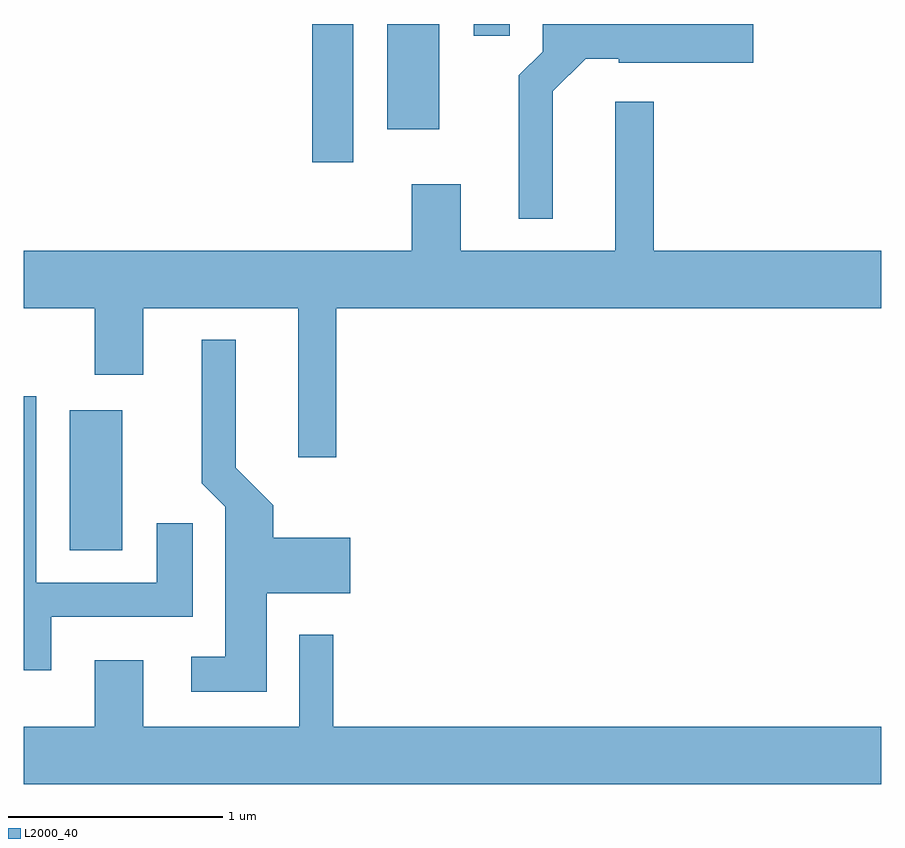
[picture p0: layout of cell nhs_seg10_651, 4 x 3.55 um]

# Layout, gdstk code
import gdstk
lib = gdstk.Library(unit=1e-6, precision=1e-09)
def R(c, l, rs):  # rectangles x0, y0, x1, y1
    for r in rs: c.add(gdstk.rectangle(r[:2], r[2:], *l))
def P(c, l, *ps):  # polygons
    for p in ps: c.add(gdstk.Polygon(p, *l))
L2000_40 = (2000, 40)

nhs_seg10_651 = lib.new_cell('nhs_seg10_651')
R(nhs_seg10_651, L2000_40, [(203.826,2166.066,204.069,2166.719), (204.956,2167.876,205.149,2168.522), (205.306,2168.031,205.549,2168.522), (205.711,2168.468,205.879,2168.522)])
P(nhs_seg10_651, L2000_40, [(206.079,2168.209),(206.232,2168.361),(206.386,2168.361),(206.386,2168.341),(207.014,2168.341),(207.014,2168.522),(206.031,2168.522),(206.031,2168.392),(205.921,2168.282),(205.921,2167.613),(206.079,2167.613)],
  [(205.069,2167.196),(207.611,2167.196),(207.611,2167.464),(206.549,2167.464),(206.549,2168.159),(206.371,2168.159),(206.371,2167.464),(205.649,2167.464),(205.649,2167.774),(205.421,2167.774),(205.421,2167.464),(203.611,2167.464),(203.611,2167.196),(203.941,2167.196),(203.941,2166.886),(204.169,2166.886),(204.169,2167.196),(204.891,2167.196),(204.891,2166.501),(205.069,2166.501)],
  [(204.744,2165.866),(205.134,2165.866),(205.134,2166.124),(204.774,2166.124),(204.774,2166.277),(204.599,2166.452),(204.599,2167.048),(204.441,2167.048),(204.441,2166.379),(204.551,2166.269),(204.551,2165.569),(204.393,2165.569),(204.393,2165.406),(204.744,2165.406)],
  [(203.739,2165.756),(204.399,2165.756),(204.399,2166.193),(204.231,2166.193),(204.231,2165.914),(203.669,2165.914),(203.669,2166.784),(203.611,2166.784),(203.611,2165.506),(203.739,2165.506)],
  [(207.611,2165.244),(205.054,2165.244),(205.054,2165.673),(204.896,2165.673),(204.896,2165.244),(204.169,2165.244),(204.169,2165.554),(203.941,2165.554),(203.941,2165.244),(203.611,2165.244),(203.611,2164.976),(207.611,2164.976)])

lib.write_gds('nhs_seg10_651.gds')
